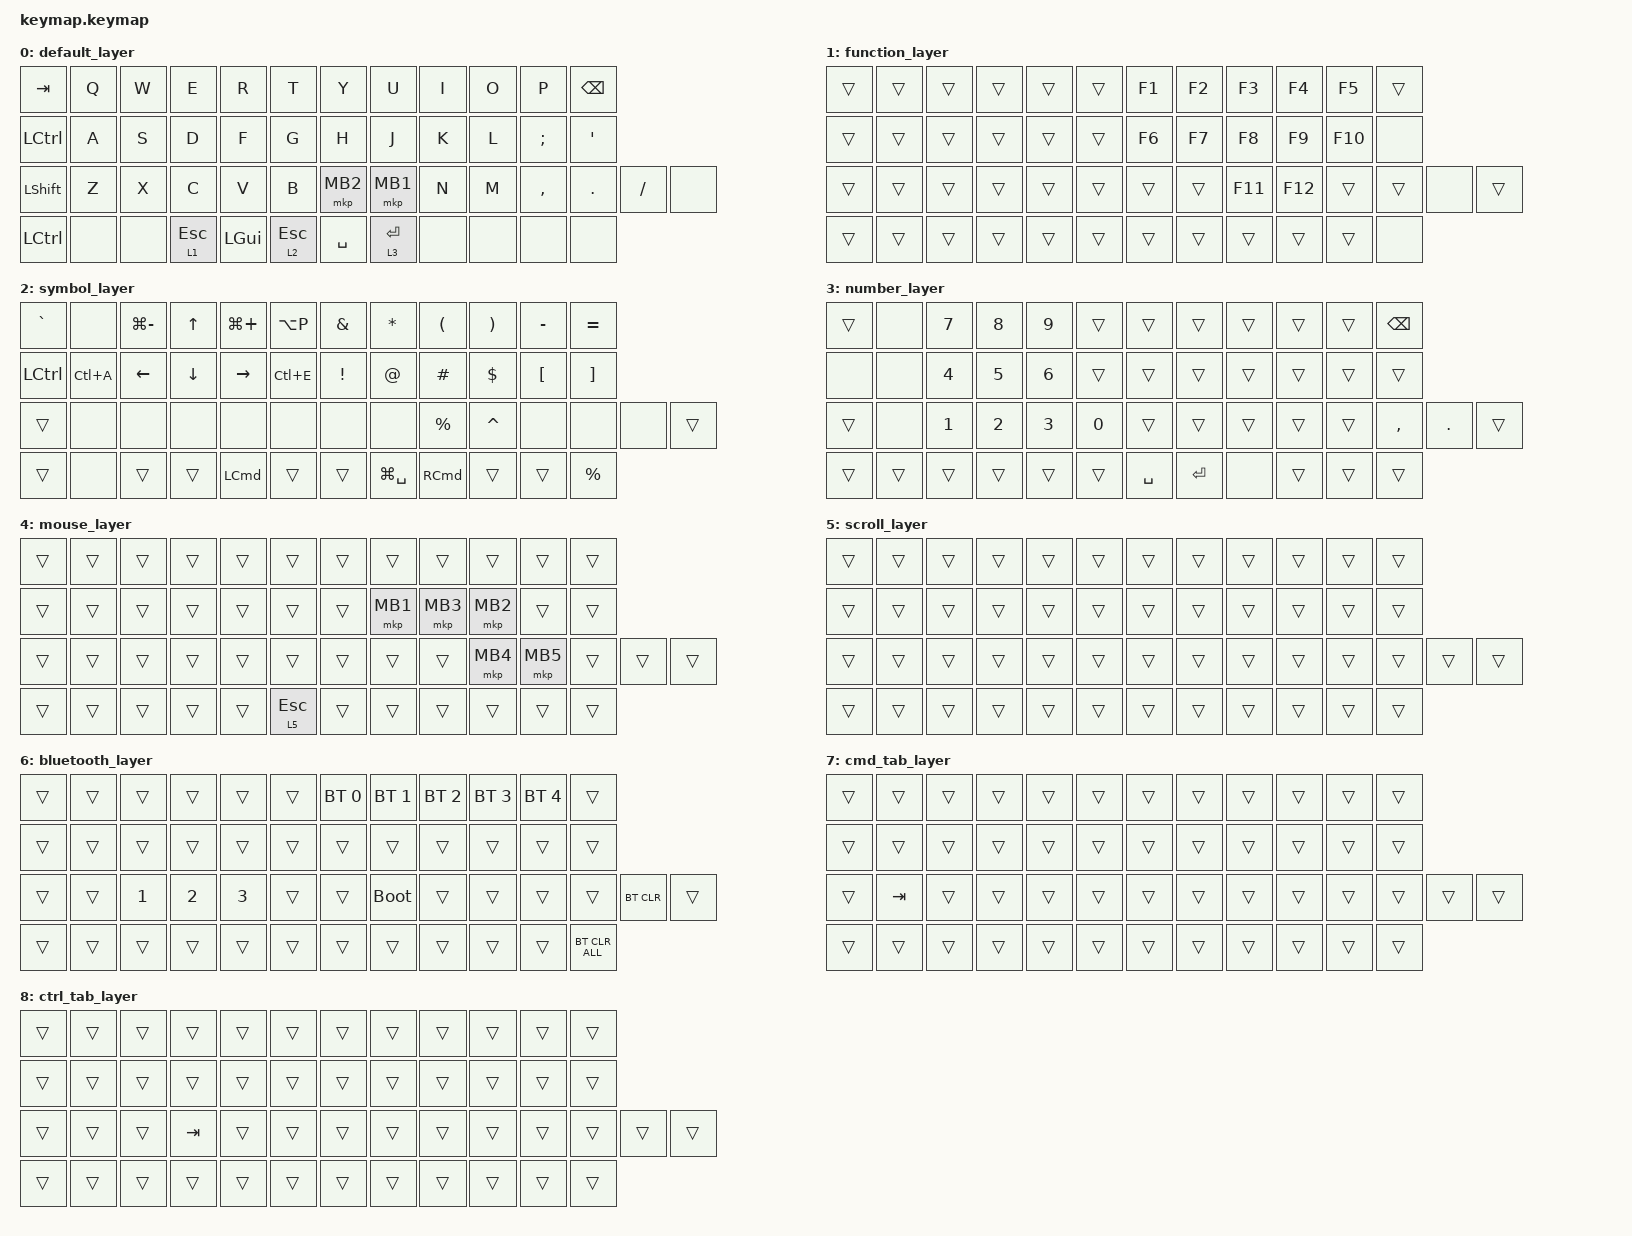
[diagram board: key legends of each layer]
#include <behaviors.dtsi>
#include <dt-bindings/zmk/bt.h>
#include <dt-bindings/zmk/keys.h>
#include <dt-bindings/zmk/pointing.h>

&mt {
    flavor = "balanced";
    quick-tap-ms = <0>;
    tapping-term-ms = <120>;
};

/ {
    combos {
        compatible = "zmk,combos";

        blt_setting {
            bindings = <&mo 6>;
            key-positions = <31 45>;
            timeout-ms = <50>;
            slow-release;
            require-prior-idle-ms = <150>;
            layers = <0>;
        };

        browser-back {
            bindings = <&mkp MB4>;
            key-positions = <16 15>;
        };
    };

    macros {
        to_layer_0: to_layer_0 {
            compatible = "zmk,behavior-macro-one-param";
            #binding-cells = <1>;
            bindings = <&to 1 &macro_param_1to1 &kp MACRO_PLACEHOLDER>;
            label = "TO_LAYER_0";
        };

        cmd_tab_hold: cmd_tab_hold {
            compatible = "zmk,behavior-macro";
            #binding-cells = <0>;
            bindings =
                <&macro_press>,
                <&kp LGUI>,
                <&macro_tap>,
                <&kp TAB>,
                <&macro_press>,
                <&mo 7>,
                <&macro_pause_for_release>,
                <&macro_release>,
                <&mo 7>,
                <&macro_release>,
                <&kp LGUI>;
        };

        ctrl_tab_hold: ctrl_tab_hold {
            compatible = "zmk,behavior-macro";
            #binding-cells = <0>;
            bindings =
                <&macro_press>,
                <&kp LCTRL>,
                <&macro_tap>,
                <&kp TAB>,
                <&macro_press>,
                <&mo 8>,
                <&macro_pause_for_release>,
                <&macro_release>,
                <&mo 8>,
                <&macro_release>,
                <&kp LCTRL>;
        };
    };

    behaviors {
        lt_to_layer_0: lt_to_layer_0 {
            compatible = "zmk,behavior-hold-tap";
            label = "LAYER_TAP_TO_0";
            bindings = <&mo>, <&to_layer_0>;

            #binding-cells = <2>;
            tapping-term-ms = <200>;
        };
    };

    keymap {
        compatible = "zmk,keymap";

        default_layer {
            bindings = <
&kp TAB    &kp Q  &kp W  &kp E         &kp R         &kp T      &kp Y      &kp U        &kp I  &kp O  &kp P      &kp BSPC
&kp LCTRL  &kp A  &kp S  &kp D         &kp F         &kp G      &kp H      &kp J        &kp K  &kp L  &kp SEMI   &kp APOS
&kp LSHFT  &kp Z  &kp X  &kp C         &kp V         &kp B      &mkp MB2   &mkp MB1     &kp N  &kp M  &kp COMMA  &kp DOT   &kp SLASH  &none
&kp LCTRL  &none  &none  &lt 1 ESCAPE  &kp LEFT_GUI  &lt 2 ESC  &kp SPACE  &lt 3 ENTER  &none  &none  &none      &none
            >;
        };

        function_layer {
            bindings = <
&trans  &trans  &trans  &trans  &trans  &trans  &kp F1  &kp F2  &kp F3   &kp F4   &kp F5   &trans
&trans  &trans  &trans  &trans  &trans  &trans  &kp F6  &kp F7  &kp F8   &kp F9   &kp F10  &none
&trans  &trans  &trans  &trans  &trans  &trans  &trans  &trans  &kp F11  &kp F12  &trans   &trans  &none  &trans
&trans  &trans  &trans  &trans  &trans  &trans  &trans  &trans  &trans   &trans   &trans   &none
            >;
        };

        symbol_layer {
            bindings = <
&kp GRAVE  &none      &kp LG(MINUS)   &kp UP_ARROW    &kp LG(PLUS)     &kp LA(P)  &kp AMPERSAND    &kp ASTERISK   &kp LEFT_PARENTHESIS  &kp RIGHT_PARENTHESIS  &kp MINUS         &kp EQUAL
&kp LCTRL  &kp LC(A)  &kp LEFT_ARROW  &kp DOWN_ARROW  &kp RIGHT_ARROW  &kp LC(E)  &kp EXCLAMATION  &kp AT_SIGN    &kp HASH              &kp DOLLAR             &kp LEFT_BRACKET  &kp RIGHT_BRACKET
&trans     &none      &none           &none           &none            &none      &none            &none          &kp PERCENT           &kp CARET              &none             &none              &none  &trans
&trans     &none      &trans          &trans          &kp LCMD         &trans     &trans           &kp LG(SPACE)  &kp RIGHT_COMMAND     &trans                 &trans            &kp PERCENT
            >;
        };

        number_layer {
            bindings = <
&trans  &none   &kp N7        &kp N8  &kp N9  &trans  &trans     &trans     &trans  &trans  &trans  &kp BACKSPACE
&none   &none   &kp NUMBER_4  &kp N5  &kp N6  &trans  &trans     &trans     &trans  &trans  &trans  &trans
&trans  &none   &kp N1        &kp N2  &kp N3  &kp N0  &trans     &trans     &trans  &trans  &trans  &kp COMMA      &kp DOT  &trans
&trans  &trans  &trans        &trans  &trans  &trans  &kp SPACE  &kp ENTER  &none   &trans  &trans  &trans
            >;
        };

        mouse_layer {
            bindings = <
&trans  &trans  &trans  &trans  &trans  &trans     &trans  &trans    &trans    &trans    &trans    &trans
&trans  &trans  &trans  &trans  &trans  &trans     &trans  &mkp MB1  &mkp MB3  &mkp MB2  &trans    &trans
&trans  &trans  &trans  &trans  &trans  &trans     &trans  &trans    &trans    &mkp MB4  &mkp MB5  &trans  &trans  &trans
&trans  &trans  &trans  &trans  &trans  &lt 5 ESC  &trans  &trans    &trans    &trans    &trans    &trans
            >;
        };

        scroll_layer {
            bindings = <
&trans  &trans  &trans  &trans  &trans  &trans  &trans  &trans  &trans  &trans  &trans  &trans
&trans  &trans  &trans  &trans  &trans  &trans  &trans  &trans  &trans  &trans  &trans  &trans
&trans  &trans  &trans  &trans  &trans  &trans  &trans  &trans  &trans  &trans  &trans  &trans  &trans  &trans
&trans  &trans  &trans  &trans  &trans  &trans  &trans  &trans  &trans  &trans  &trans  &trans
            >;
        };

        bluetooth_layer {
            bindings = <
&trans  &trans  &trans        &trans        &trans        &trans  &bt BT_SEL 0  &bt BT_SEL 1  &bt BT_SEL 2  &bt BT_SEL 3  &bt BT_SEL 4  &trans
&trans  &trans  &trans        &trans        &trans        &trans  &trans        &trans        &trans        &trans        &trans        &trans
&trans  &trans  &kp NUMBER_1  &kp NUMBER_2  &kp NUMBER_3  &trans  &trans        &bootloader   &trans        &trans        &trans        &trans          &bt BT_CLR  &trans
&trans  &trans  &trans        &trans        &trans        &trans  &trans        &trans        &trans        &trans        &trans        &bt BT_CLR_ALL
            >;
        };

        cmd_tab_layer {
            bindings = <
&trans  &trans   &trans  &trans  &trans  &trans  &trans  &trans  &trans  &trans  &trans  &trans
&trans  &trans   &trans  &trans  &trans  &trans  &trans  &trans  &trans  &trans  &trans  &trans
&trans  &kp TAB  &trans  &trans  &trans  &trans  &trans  &trans  &trans  &trans  &trans  &trans  &trans  &trans
&trans  &trans   &trans  &trans  &trans  &trans  &trans  &trans  &trans  &trans  &trans  &trans
            >;
        };

        ctrl_tab_layer {
            bindings = <
&trans  &trans  &trans  &trans   &trans  &trans  &trans  &trans  &trans  &trans  &trans  &trans
&trans  &trans  &trans  &trans   &trans  &trans  &trans  &trans  &trans  &trans  &trans  &trans
&trans  &trans  &trans  &kp TAB  &trans  &trans  &trans  &trans  &trans  &trans  &trans  &trans  &trans  &trans
&trans  &trans  &trans  &trans   &trans  &trans  &trans  &trans  &trans  &trans  &trans  &trans
            >;
        };
    };
};
